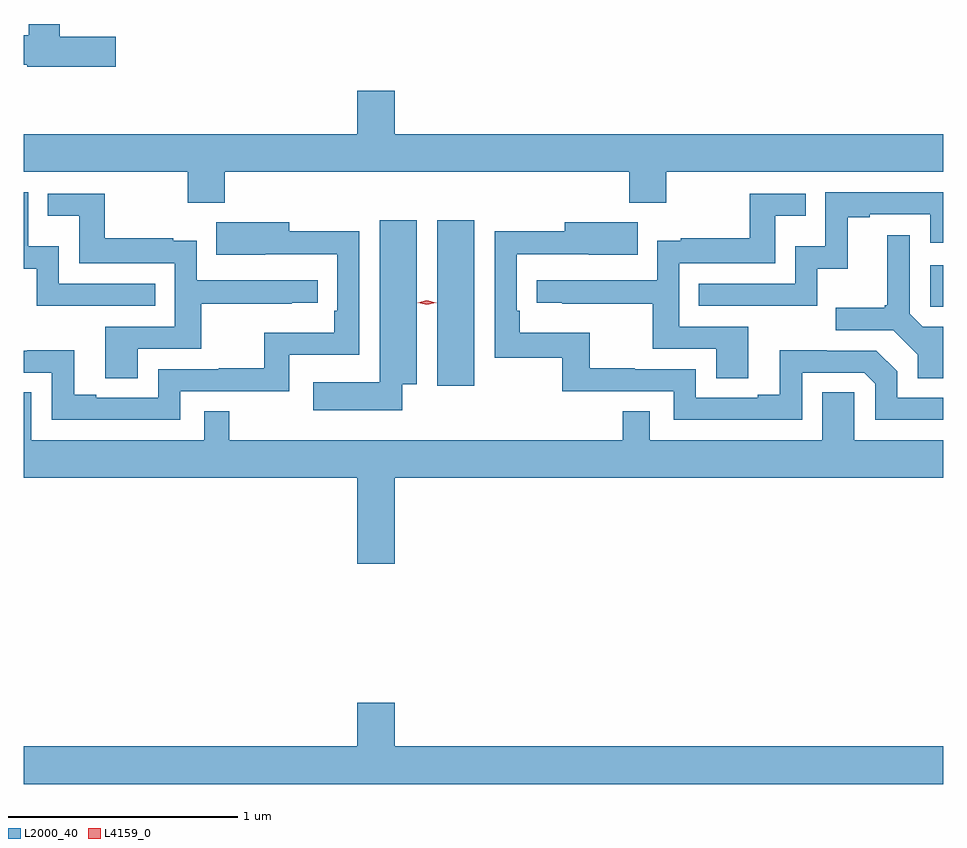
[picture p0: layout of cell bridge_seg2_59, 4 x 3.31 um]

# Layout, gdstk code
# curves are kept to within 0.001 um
import gdstk
lib = gdstk.Library(unit=1e-6, precision=1e-09)
def R(c, l, rs):  # rectangles x0, y0, x1, y1
    for r in rs: c.add(gdstk.rectangle(r[:2], r[2:], *l))
def P(c, l, *ps):  # polygons
    for p in ps: c.add(gdstk.Polygon(p, *l))
L2000_40 = (2000, 40)
L4159_0 = (4159, 0)

bridge_seg2_59 = lib.new_cell('bridge_seg2_59')
R(bridge_seg2_59, L2000_40, [(1088.432,597.42,1088.593,598.141), (1090.578,597.765,1090.634,597.945)])
P(bridge_seg2_59, L2000_40, [(1087.033,598.939),(1086.791,598.939),(1086.791,598.995),(1086.655,598.995),(1086.655,598.946),(1086.634,598.946),(1086.634,598.818),(1086.648,598.818),(1086.648,598.81),(1087.033,598.81)],
  [(1087.508,598.352),(1089.269,598.352),(1089.269,598.217),(1089.429,598.217),(1089.429,598.352),(1090.634,598.352),(1090.634,598.516),(1088.248,598.516),(1088.248,598.705),(1088.084,598.705),(1088.084,598.516),(1086.634,598.516),(1086.634,598.352),(1087.348,598.352),(1087.348,598.217),(1087.508,598.217)],
  [(1087.205,597.864),(1086.786,597.864),(1086.786,598.027),(1086.654,598.027),(1086.654,598.263),(1086.634,598.263),(1086.634,597.929),(1086.69,597.929),(1086.69,597.768),(1087.205,597.768)],
  [(1090.086,597.929),(1090.219,597.929),(1090.219,598.155),(1090.315,598.155),(1090.315,598.167),(1090.578,598.167),(1090.578,598.044),(1090.634,598.044),(1090.634,598.263),(1090.122,598.263),(1090.122,598.027),(1089.99,598.027),(1089.99,597.864),(1089.571,597.864),(1089.571,597.768),(1090.086,597.768)],
  [(1089.787,597.678),(1089.486,597.678),(1089.486,597.954),(1089.903,597.954),(1089.903,598.16),(1090.037,598.16),(1090.037,598.257),(1089.792,598.257),(1089.792,598.063),(1089.493,598.063),(1089.493,598.051),(1089.39,598.051),(1089.39,597.879),(1088.865,597.879),(1088.865,597.783),(1088.977,597.783),(1088.977,597.778),(1089.37,597.778),(1089.37,597.582),(1089.647,597.582),(1089.647,597.454),(1089.787,597.454)],
  [(1087.129,597.582),(1087.406,597.582),(1087.406,597.778),(1087.799,597.778),(1087.799,597.783),(1087.912,597.783),(1087.912,597.879),(1087.386,597.879),(1087.386,598.051),(1087.283,598.051),(1087.283,598.063),(1086.985,598.063),(1086.985,598.257),(1086.739,598.257),(1086.739,598.16),(1086.874,598.16),(1086.874,597.954),(1087.29,597.954),(1087.29,597.678),(1086.989,597.678),(1086.989,597.454),(1087.129,597.454)],
  [(1088.281,597.428),(1088.344,597.428),(1088.344,598.141),(1088.183,598.141),(1088.183,597.436),(1087.893,597.436),(1087.893,597.314),(1088.281,597.314)],
  [(1087.314,597.396),(1087.788,597.396),(1087.788,597.555),(1088.094,597.555),(1088.094,598.094),(1087.789,598.094),(1087.789,598.132),(1087.471,598.132),(1087.471,597.992),(1087.685,597.992),(1087.685,597.993),(1087.998,597.993),(1087.998,597.748),(1087.985,597.748),(1087.985,597.652),(1087.68,597.652),(1087.68,597.497),(1087.483,597.497),(1087.483,597.492),(1087.218,597.492),(1087.218,597.369),(1086.949,597.369),(1086.949,597.382),(1086.853,597.382),(1086.853,597.575),(1086.648,597.575),(1086.648,597.573),(1086.634,597.573),(1086.634,597.477),(1086.756,597.477),(1086.756,597.273),(1087.314,597.273)],
  [(1090.02,597.477),(1090.29,597.477),(1090.338,597.429),(1090.338,597.273),(1090.634,597.273),(1090.634,597.369),(1090.434,597.369),(1090.434,597.483),(1090.344,597.573),(1090.128,597.573),(1090.128,597.575),(1089.923,597.575),(1089.923,597.382),(1089.827,597.382),(1089.827,597.369),(1089.558,597.369),(1089.558,597.492),(1089.293,597.492),(1089.293,597.497),(1089.097,597.497),(1089.097,597.652),(1088.792,597.652),(1088.792,597.748),(1088.778,597.748),(1088.778,597.993),(1089.305,597.992),(1089.305,598.132),(1088.987,598.132),(1088.987,598.094),(1088.682,598.094),(1088.682,597.543),(1088.976,597.543),(1088.976,597.396),(1089.462,597.396),(1089.462,597.273),(1090.02,597.273)],
  [(1090.634,597.678),(1090.545,597.678),(1090.488,597.735),(1090.488,598.075),(1090.391,598.075),(1090.391,597.772),(1090.38,597.772),(1090.38,597.76),(1090.167,597.76),(1090.167,597.663),(1090.416,597.663),(1090.523,597.556),(1090.523,597.454),(1090.634,597.454)],
  [(1088.248,597.02),(1090.634,597.02),(1090.634,597.184),(1090.248,597.184),(1090.248,597.392),(1090.109,597.392),(1090.109,597.184),(1089.357,597.184),(1089.357,597.311),(1089.241,597.311),(1089.241,597.184),(1087.528,597.184),(1087.528,597.311),(1087.419,597.311),(1087.419,597.184),(1086.667,597.184),(1086.667,597.392),(1086.634,597.392),(1086.634,597.02),(1088.084,597.02),(1088.084,596.646),(1088.248,596.646)],
  [(1090.634,595.852),(1088.248,595.852),(1088.248,596.041),(1088.084,596.041),(1088.084,595.852),(1086.634,595.852),(1086.634,595.688),(1090.634,595.688)])
P(bridge_seg2_59, L4159_0, [(1088.388,597.773),(1088.348,597.783),(1088.348,597.783),(1088.348,597.783),(1088.388,597.793),(1088.428,597.783),(1088.428,597.783),(1088.428,597.783)])

lib.write_gds('bridge_seg2_59.gds')
